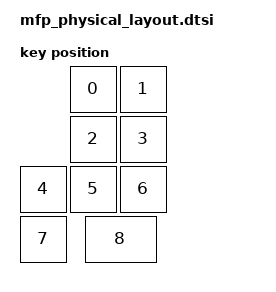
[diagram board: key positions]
#include <layouts/physical_layouts.dtsi>

/ {
    borland04_mfp_layout: borland04_mfp_layout {
        compatible = "zmk,physical-layout";
        display-name = "MFP";

	keys  //                     w   h    x    y     rot    rx    ry
            = <&key_physical_attrs 100 100  100    0       0     0     0>
            , <&key_physical_attrs 100 100  200    0       0     0     0>
            , <&key_physical_attrs 100 100  100  100       0     0     0>
            , <&key_physical_attrs 100 100  200  100       0     0     0>
            , <&key_physical_attrs 100 100    0  200       0     0     0>
            , <&key_physical_attrs 100 100  100  200       0     0     0>
            , <&key_physical_attrs 100 100  200  200       0     0     0>
            , <&key_physical_attrs 100 100    0  300       0     0     0>
            , <&key_physical_attrs 150 100  130  300       0     0     0>
        ;
    };
};
